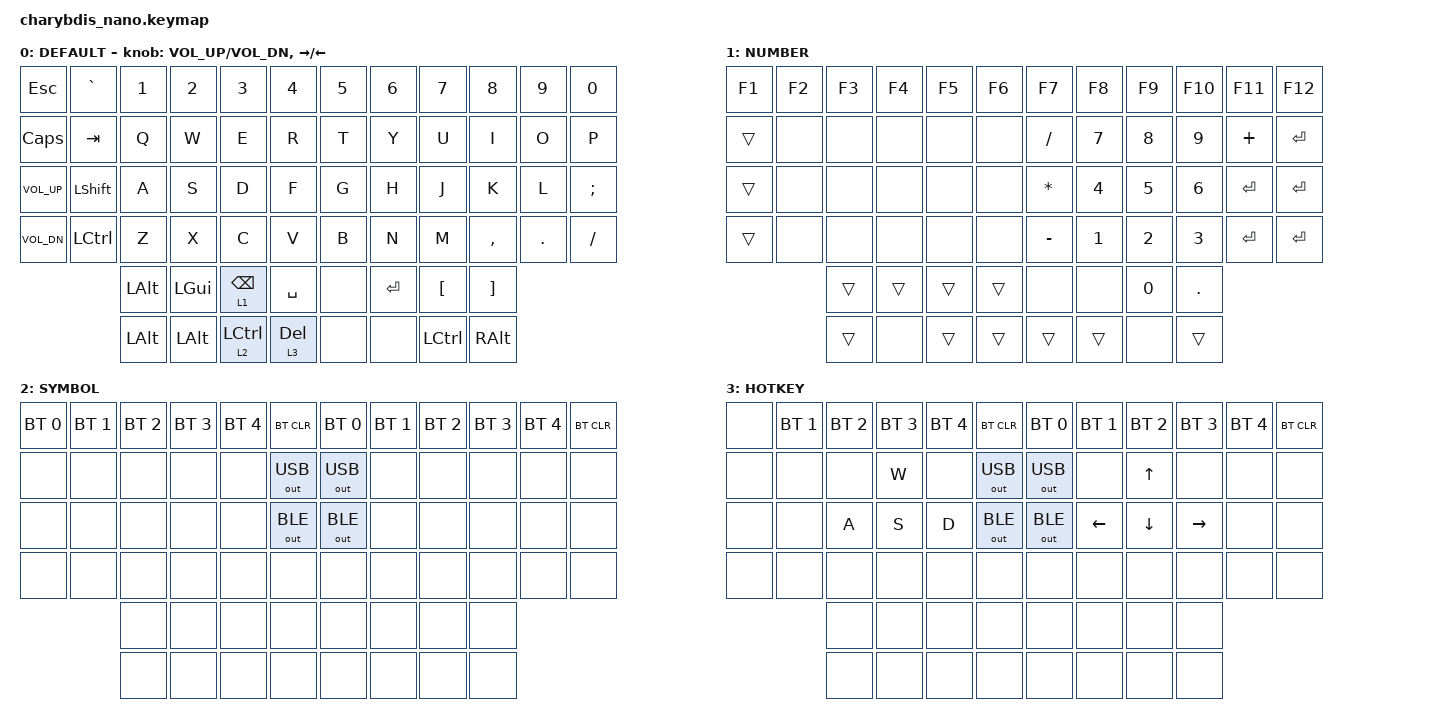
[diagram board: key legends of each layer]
#include <dt-bindings/zmk/mouse.h>
#include <behaviors.dtsi>
#include <dt-bindings/zmk/bt.h>
#include <dt-bindings/zmk/keys.h>
#include <dt-bindings/zmk/outputs.h>

#define DEFAULT 0
#define NUMBER  1
#define SYMBOL  2
#define HOTKEY  3

/ {
    behaviors {
        td0: tap_dance_0 {
            compatible = "zmk,behavior-tap-dance";
            label = "TAP_DANCE_0";
            #binding-cells = <0>;
            tapping-term-ms = <200>;
            bindings = <&kp ESC>, <&kp TAB>;
        };
    };

    macros {
        macro_phone: macro_phone {
            // 1351

            label = "MACRO_PHONE";
            compatible = "zmk,behavior-macro";
            #binding-cells = <0>;
            bindings = <&kp N1 &kp N3 &kp N5 &kp N1>;
        };
    };

    combos {
        compatible = "zmk,combos";

        combo_esc {
            timeout-ms = <50>;
            key-positions = <14 15>;
            bindings = <&mkp LCLK>;
        };

        combo_rgui {
            timeout-ms = <50>;
            key-positions = <26 27>;
            bindings = <&mkp MCLK>;
        };

        combo_LSHFT {
            timeout-ms = <50>;
            key-positions = <38 39>;
            bindings = <&mkp RCLK>;
        };

        combo_2 {
            timeout-ms = <50>;
            key-positions = <15 16>;
            bindings = <&mo 3>;
        };

        combo_3 {
            timeout-ms = <50>;
            key-positions = <>;
            bindings = <&kp N3>;
        };

        combo_GUI {
            timeout-ms = <50>;
            key-positions = <>;
            bindings = <&tog 2>;
        };

        combo_GU {
            timeout-ms = <50>;
            key-positions = <>;
            bindings = <&mo 3>;
        };
    };

    keymap {
        compatible = "zmk,keymap";

        default_layer {
            label = "DEFAULT";
            bindings = <
&kp ESC          &kp GRAVE  &kp N1    &kp N2    &kp N3           &kp N4     &kp N5  &kp N6   &kp N7     &kp N8         &kp N9   &kp N0
&kp CAPS         &kp TAB    &kp Q     &kp W     &kp E            &kp R      &kp T   &kp Y    &kp U      &kp I          &kp O    &kp P
&kp C_VOLUME_UP  &kp LSHFT  &kp A     &kp S     &kp D            &kp F      &kp G   &kp H    &kp J      &kp K          &kp L    &kp SEMI
&kp C_VOL_DN     &kp LCTRL  &kp Z     &kp X     &kp C            &kp V      &kp B   &kp N    &kp M      &kp COMMA      &kp DOT  &kp FSLH
                            &kp LALT  &kp LGUI  &lt 1 BACKSPACE  &kp SPACE  &none   &kp RET  &kp LBKT   &kp RBKT
                            &kp LALT  &kp LALT  &lt 2 LCTRL      &lt 3 DEL  &none   &none    &kp LCTRL  &kp RIGHT_ALT
            >;

            sensor-bindings = <&inc_dec_kp C_VOL_UP C_VOL_DN &inc_dec_kp RIGHT LEFT>;
            trackball-bindings = <&tmv>;
        };

        number_layer {
            label = "NUMBER";
            bindings = <
&kp F1  &kp F2  &kp F3  &kp F4  &kp F5  &kp F6  &kp F7     &kp F8  &kp F9  &kp F10  &kp F11    &kp F12
&trans  &none   &none   &none   &none   &none   &kp FSLH   &kp N7  &kp N8  &kp N9   &kp PLUS   &kp RET
&trans  &none   &none   &none   &none   &none   &kp STAR   &kp N4  &kp N5  &kp N6   &kp ENTER  &kp RET
&trans  &none   &none   &none   &none   &none   &kp MINUS  &kp N1  &kp N2  &kp N3   &kp ENTER  &kp ENTER
                &trans  &trans  &trans  &trans  &none      &none   &kp N0  &kp DOT
                &trans  &none   &trans  &trans  &trans     &trans  &none   &trans
            >;

            trackball-bindings = <&tsl>;
        };

        symbol_layer {
            label = "SYMBOL";
            bindings = <
&bt BT_SEL 0  &bt BT_SEL 1  &bt BT_SEL 2  &bt BT_SEL 3  &bt BT_SEL 4  &bt BT_CLR    &bt BT_SEL 0  &bt BT_SEL 1  &bt BT_SEL 2  &bt BT_SEL 3  &bt BT_SEL 4  &bt BT_CLR
&none         &none         &none         &none         &none         &out OUT_USB  &out OUT_USB  &none         &none         &none         &none         &none
&none         &none         &none         &none         &none         &out OUT_BLE  &out OUT_BLE  &none         &none         &none         &none         &none
&none         &none         &none         &none         &none         &none         &none         &none         &none         &none         &none         &none
                            &none         &none         &none         &none         &none         &none         &none         &none
                            &none         &none         &none         &none         &none         &none         &none         &none
            >;

            trackball-bindings = <&tmv_coarse>;
        };

        hotkey_layer {
            label = "HOTKEY";
            bindings = <
&none  &bt BT_SEL 1  &bt BT_SEL 2  &bt BT_SEL 3  &bt BT_SEL 4  &bt BT_CLR    &bt BT_SEL 0  &bt BT_SEL 1    &bt BT_SEL 2    &bt BT_SEL 3     &bt BT_SEL 4  &bt BT_CLR
&none  &none         &none         &kp W         &none         &out OUT_USB  &out OUT_USB  &none           &kp UP          &none            &none         &none
&none  &none         &kp A         &kp S         &kp D         &out OUT_BLE  &out OUT_BLE  &kp LEFT_ARROW  &kp DOWN_ARROW  &kp RIGHT_ARROW  &none         &none
&none  &none         &none         &none         &none         &none         &none         &none           &none           &none            &none         &none
                     &none         &none         &none         &none         &none         &none           &none           &none
                     &none         &none         &none         &none         &none         &none           &none           &none
            >;

            trackball-bindings = <&tsl>;
        };
    };
};
